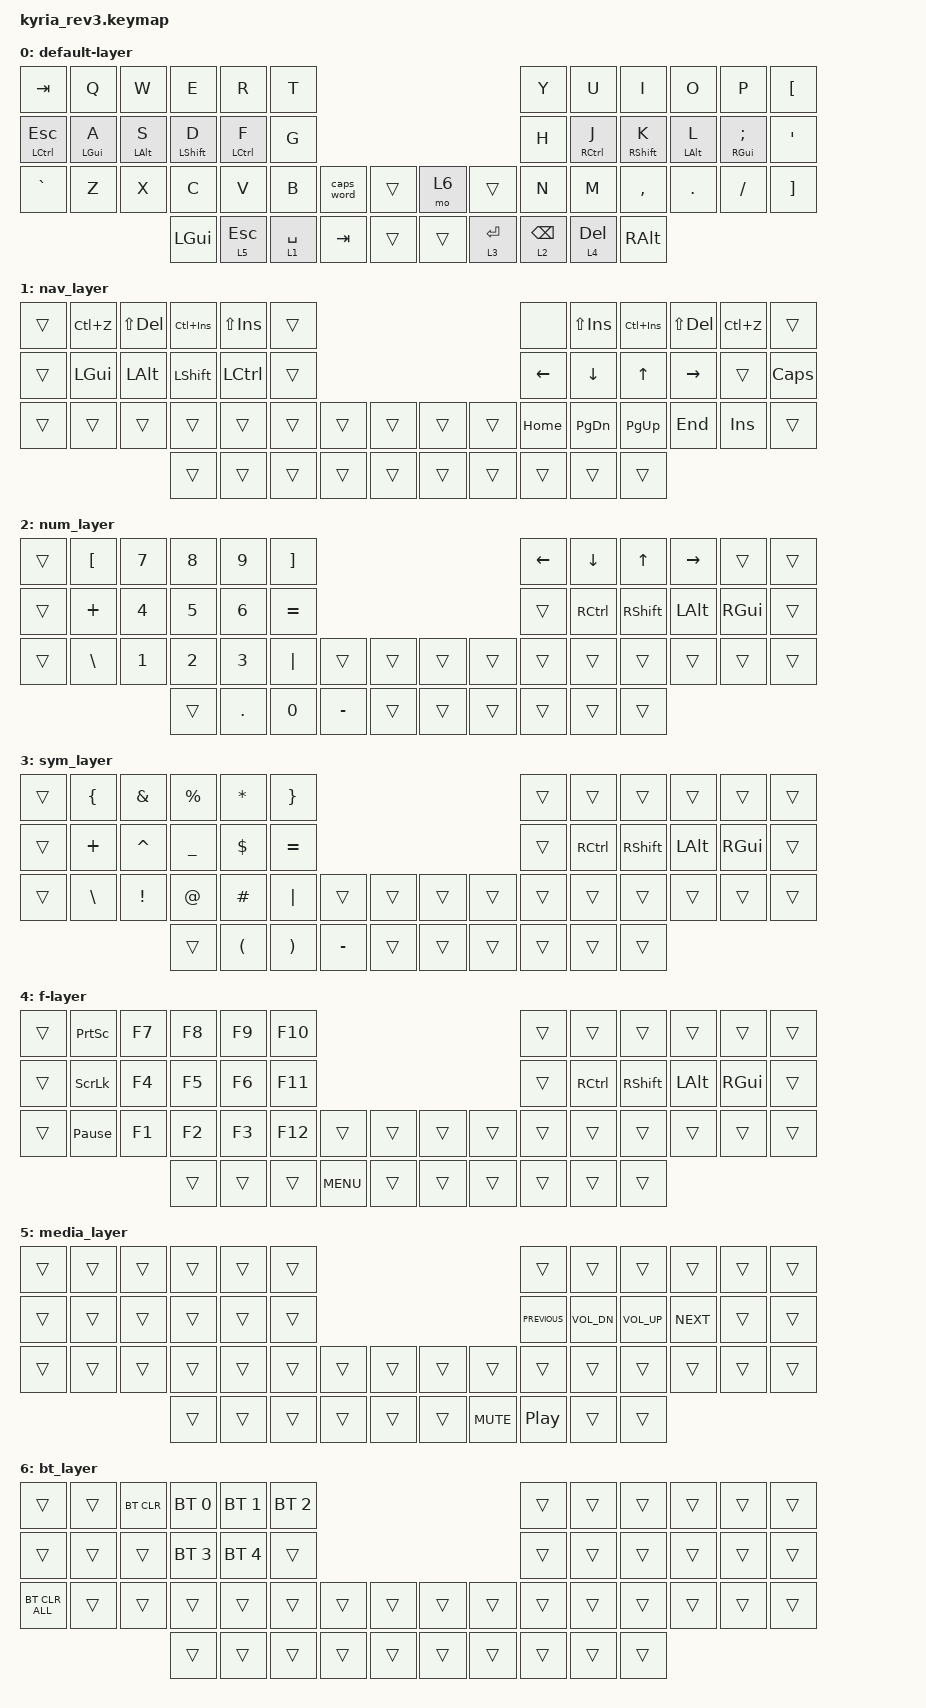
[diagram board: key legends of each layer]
/*
 * Copyright (c) 2023 The ZMK Contributors
 *
 * SPDX-License-Identifier: MIT
 */

#include <behaviors.dtsi>
#include <dt-bindings/zmk/bt.h>
#include <dt-bindings/zmk/keys.h>

/* Uncomment this block if using RGB
&led_strip {
    chain-length = <6>;
    // chain-length = <31>; // Uncomment if using both per-key and underglow LEDs
    // chain-length = <25>; // Uncomment if using only per-key LEDs.
};
 */

/ {
    behaviors {
        ht_caps: ht_caps {
            compatible = "zmk,behavior-hold-tap";
            label = "HT_CAPS";
            bindings = <&kp>, <&kp>;

            #binding-cells = <2>;
            tapping-term-ms = <150>;
            flavor = "hold-preferred";
        };

        ht_layer: ht_layer {
            compatible = "zmk,behavior-hold-tap";
            label = "HT_LAYER";
            bindings = <&mo>, <&kp>;

            #binding-cells = <2>;
            tapping-term-ms = <280>;
            flavor = "balanced";
            quick-tap-ms = <175>;
        };

        ht_hrm_left: ht_hrm_left {
            compatible = "zmk,behavior-hold-tap";
            label = "HT_HRM_LEFT";
            bindings = <&kp>, <&kp>;

            #binding-cells = <2>;
            tapping-term-ms = <280>;
            quick-tap-ms = <175>;
            require-prior-idle-ms = <150>;
            flavor = "balanced";
            hold-trigger-key-positions = <6 7 8 9 10 11 18 19 20 21 22 23 32 33 34 35 36 37 38 39 40 41 42 43 44 45 46 47 48 49>;
            hold-trigger-on-release;
        };

        ht_hrm_right: ht_hrm_right {
            compatible = "zmk,behavior-hold-tap";
            label = "HT_HRM_RIGHT";
            bindings = <&kp>, <&kp>;

            #binding-cells = <2>;
            tapping-term-ms = <280>;
            quick-tap-ms = <175>;
            require-prior-idle-ms = <150>;
            flavor = "balanced";
            hold-trigger-on-release;
            hold-trigger-key-positions = <0 1 2 3 4 5 12 13 14 15 16 17 24 25 26 27 28 29 30 31 40 41 42 43 44 45 46 47 48 49>;
        };

        ht_hrm_left_fast: ht_hrm_left_fast {
            compatible = "zmk,behavior-hold-tap";
            label = "HT_HRM_LEFT_FAST";
            bindings = <&kp>, <&kp>;

            #binding-cells = <2>;
            tapping-term-ms = <280>;
            quick-tap-ms = <175>;
            flavor = "balanced";
            hold-trigger-key-positions = <6 7 8 9 10 11 18 19 20 21 22 23 32 33 34 35 36 37 38 39 40 41 42 43 44 45 46 47 48 49>;
            hold-trigger-on-release;
        };

        ht_hrm_right_fast: ht_hrm_right_fast {
            compatible = "zmk,behavior-hold-tap";
            label = "HT_HRM_RIGHT_FAST";
            bindings = <&kp>, <&kp>;

            #binding-cells = <2>;
            tapping-term-ms = <280>;
            quick-tap-ms = <175>;
            flavor = "balanced";
            hold-trigger-on-release;
            hold-trigger-key-positions = <0 1 2 3 4 5 12 13 14 15 16 17 24 25 26 27 28 29 30 31 40 41 42 43 44 45 46 47 48 49>;
        };
    };

    combos {
        compatible = "zmk,combos";

        caps_word {
            bindings = <&caps_word>;
            key-positions = <15 20>;
            layers = <0>;
            require-prior-idle-ms = <150>;
            timeout-ms = <50>;
        };

        layout_switch {
            bindings = <&win_layout_switch>;
            key-positions = <26 27>;
            timeout-ms = <50>;
            require-prior-idle-ms = <150>;
            layers = <0>;
        };
    };

    macros {
        win_layout_switch: win_layout_switch {
            compatible = "zmk,behavior-macro";
            #binding-cells = <0>;
            bindings =
                <&macro_press>,
                <&kp LEFT_ALT>,
                <&macro_tap>,
                <&kp LSHIFT>,
                <&macro_release>,
                <&kp LEFT_ALT>;

            label = "WIN_LAYOUT_SWITCH";
        };
    };

    keymap {
        compatible = "zmk,keymap";

        default-layer {
            // ---------------------------------------------------------------------------------------------------------------------------------
            // |  ESC  |  Q  |  W  |  E   |  R   |  T   |                                          |  Y   |  U    |  I    |  O   |   P   |   \  |
            // |  TAB  |  A  |  S  |  D   |  F   |  G   |                                          |  H   |  J    |  K    |  L   |   ;   |   '  |
            // | SHIFT |  Z  |  X  |  C   |  V   |  B   | L SHIFT | L SHIFT |  | LAYER 1 | L SHIFT |  N   |  M    |  ,    |  .   |   /   | CTRL |
            //                     | GUI  | DEL  | RET  |  SPACE  |   ESC   |  |   RET   |  SPACE  | TAB  | BSPC  | R-ALT |

            bindings = <
&kp TAB                       &kp Q                    &kp W                    &kp E                       &kp R                        &kp T                                                             &kp Y                  &kp U                          &kp I                             &kp O                     &kp P                              &kp LBKT
&ht_caps LEFT_CONTROL ESCAPE  &ht_hrm_left LEFT_GUI A  &ht_hrm_left LEFT_ALT S  &ht_hrm_left_fast LSHIFT D  &ht_hrm_left LEFT_CONTROL F  &kp G                                                             &kp H                  &ht_hrm_right RIGHT_CONTROL J  &ht_hrm_right_fast RIGHT_SHIFT K  &ht_hrm_right LEFT_ALT L  &ht_hrm_right RIGHT_GUI SEMICOLON  &kp SQT
&kp GRAVE                     &kp Z                    &kp X                    &kp C                       &kp V                        &kp B              &caps_word  &trans  &mo 6   &trans             &kp N                  &kp M                          &kp COMMA                         &kp DOT                   &kp FSLH                           &kp RIGHT_BRACKET
                                                                                &kp LEFT_GUI                &ht_layer 5 ESCAPE           &ht_layer 1 SPACE  &kp TAB     &trans  &trans  &ht_layer 3 ENTER  &ht_layer 2 BACKSPACE  &ht_layer 4 DEL                &kp RIGHT_ALT
            >;
        };

        nav_layer {
            bindings = <
&trans  &kp LC(Z)  &kp LS(DELETE)  &kp LC(INSERT)  &kp LS(INSERT)  &trans                                  &none     &kp LS(INSERT)  &kp LC(INS)  &kp LS(DELETE)  &kp LC(Z)   &trans
&trans  &kp LGUI   &kp LALT        &kp LSHFT       &kp LCTRL       &trans                                  &kp LEFT  &kp DOWN        &kp UP       &kp RIGHT       &trans      &kp CAPSLOCK
&trans  &trans     &trans          &trans          &trans          &trans  &trans  &trans  &trans  &trans  &kp HOME  &kp PAGE_DOWN   &kp PAGE_UP  &kp END         &kp INSERT  &trans
                                   &trans          &trans          &trans  &trans  &trans  &trans  &trans  &trans    &trans          &trans
            >;
        };

        num_layer {
            bindings = <
&trans  &kp LBKT       &kp N7  &kp N8  &kp N9   &kp RBKT                                      &kp LEFT  &kp DOWN   &kp UP     &kp RIGHT     &trans    &trans
&trans  &kp PLUS       &kp N4  &kp N5  &kp N6   &kp EQUAL                                     &trans    &kp RCTRL  &kp RSHFT  &kp LEFT_ALT  &kp RGUI  &trans
&trans  &kp BACKSLASH  &kp N1  &kp N2  &kp N3   &kp PIPE   &trans     &trans  &trans  &trans  &trans    &trans     &trans     &trans        &trans    &trans
                               &trans  &kp DOT  &kp N0     &kp MINUS  &trans  &trans  &trans  &trans    &trans     &trans
            >;
        };

        sym_layer {
            bindings = <
&trans  &kp LEFT_BRACE  &kp AMPS   &kp PERCENT  &kp ASTERISK          &kp RIGHT_BRACE                                           &trans  &trans     &trans     &trans        &trans    &trans
&trans  &kp PLUS        &kp CARET  &kp UNDER    &kp DOLLAR            &kp EQUAL                                                 &trans  &kp RCTRL  &kp RSHFT  &kp LEFT_ALT  &kp RGUI  &trans
&trans  &kp BACKSLASH   &kp EXCL   &kp AT       &kp HASH              &kp PIPE               &trans     &trans  &trans  &trans  &trans  &trans     &trans     &trans        &trans    &trans
                                   &trans       &kp LEFT_PARENTHESIS  &kp RIGHT_PARENTHESIS  &kp MINUS  &trans  &trans  &trans  &trans  &trans     &trans
            >;
        };

        f-layer {
            bindings = <
&trans  &kp PRINTSCREEN  &kp F7  &kp F8  &kp F9  &kp F10                                      &trans  &trans     &trans     &trans        &trans    &trans
&trans  &kp SCROLLLOCK   &kp F4  &kp F5  &kp F6  &kp F11                                      &trans  &kp RCTRL  &kp RSHFT  &kp LEFT_ALT  &kp RGUI  &trans
&trans  &kp PAUSE_BREAK  &kp F1  &kp F2  &kp F3  &kp F12  &trans      &trans  &trans  &trans  &trans  &trans     &trans     &trans        &trans    &trans
                                 &trans  &trans  &trans   &kp C_MENU  &trans  &trans  &trans  &trans  &trans     &trans
            >;
        };

        media_layer {
            bindings = <
&trans  &trans  &trans  &trans  &trans  &trans                                      &trans          &trans        &trans        &trans      &trans  &trans
&trans  &trans  &trans  &trans  &trans  &trans                                      &kp C_PREVIOUS  &kp C_VOL_DN  &kp C_VOL_UP  &kp C_NEXT  &trans  &trans
&trans  &trans  &trans  &trans  &trans  &trans  &trans  &trans  &trans  &trans      &trans          &trans        &trans        &trans      &trans  &trans
                        &trans  &trans  &trans  &trans  &trans  &trans  &kp C_MUTE  &kp C_PP        &trans        &trans
            >;
        };

        bt_layer {
            // ---------------------------------------------------------------------------------------------------------------------------------
            // |       |      |BT_CLR|BTSEL0|BTSEL1|BTSEL2|                                         |      |      |      |      |      |      |
            // |       |      |      |BTSEL3|BTSEL4|      |                                         |      |      |      |      |      |      |
            // |       |      |      |      |      |      |      |      |      |      |      |      |      |      |      |      |      |      |
            //                       |      |      |      |      |      |      |      |      |      |      |      |      |

            bindings = <
&trans          &trans  &bt BT_CLR  &bt BT_SEL 0  &bt BT_SEL 1  &bt BT_SEL 2                                  &trans  &trans  &trans  &trans  &trans  &trans
&trans          &trans  &trans      &bt BT_SEL 3  &bt BT_SEL 4  &trans                                        &trans  &trans  &trans  &trans  &trans  &trans
&bt BT_CLR_ALL  &trans  &trans      &trans        &trans        &trans        &trans  &trans  &trans  &trans  &trans  &trans  &trans  &trans  &trans  &trans
                                    &trans        &trans        &trans        &trans  &trans  &trans  &trans  &trans  &trans  &trans
            >;
        };
    };
};
